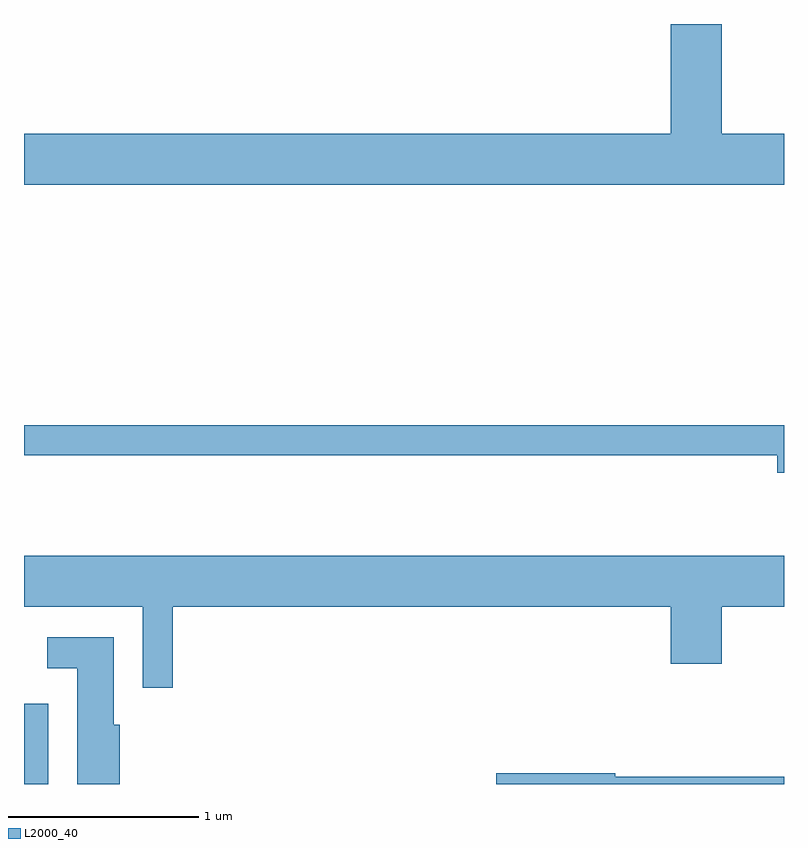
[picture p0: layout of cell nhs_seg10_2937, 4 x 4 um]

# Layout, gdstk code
import gdstk
lib = gdstk.Library(unit=1e-6, precision=1e-09)
def R(c, l, rs):  # rectangles x0, y0, x1, y1
    for r in rs: c.add(gdstk.rectangle(r[:2], r[2:], *l))
def P(c, l, *ps):  # polygons
    for p in ps: c.add(gdstk.Polygon(p, *l))
L2000_40 = (2000, 40)

nhs_seg10_2937 = lib.new_cell('nhs_seg10_2937')
R(nhs_seg10_2937, L2000_40, [(271.611,2128.522,271.739,2128.944)])
P(nhs_seg10_2937, L2000_40, [(275.611,2131.944),(275.284,2131.944),(275.284,2132.522),(275.016,2132.522),(275.016,2131.944),(271.611,2131.944),(271.611,2131.676),(275.611,2131.676)],
  [(275.611,2130.409),(271.611,2130.409),(271.611,2130.251),(275.576,2130.251),(275.576,2130.161),(275.611,2130.161)],
  [(272.394,2129.456),(275.016,2129.456),(275.016,2129.156),(275.284,2129.156),(275.284,2129.456),(275.611,2129.456),(275.611,2129.724),(271.611,2129.724),(271.611,2129.456),(272.236,2129.456),(272.236,2129.028),(272.394,2129.028)],
  [(272.114,2128.834),(272.084,2128.834),(272.084,2129.294),(271.733,2129.294),(271.733,2129.131),(271.891,2129.131),(271.891,2128.522),(272.114,2128.522)],
  [(275.611,2128.559),(274.724,2128.559),(274.724,2128.579),(274.096,2128.579),(274.096,2128.522),(275.611,2128.522)])

lib.write_gds('nhs_seg10_2937.gds')
